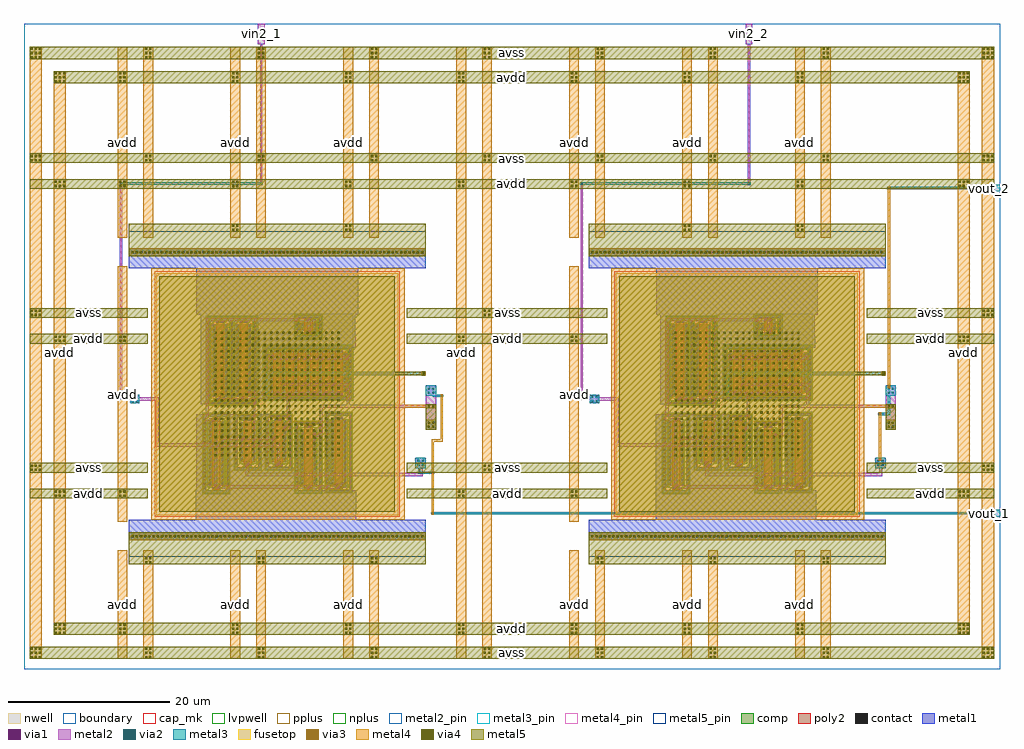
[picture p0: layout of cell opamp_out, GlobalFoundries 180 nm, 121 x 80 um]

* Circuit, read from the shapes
.subckt opamp_out avdd avss vin2_1 vin2_2 vout_1 vout_2
XM1 opamp_1/p opamp_1/vb avss avss nfet_03v3 w=8u l=1u
XM2 opamp_1/y vout_1 opamp_1/p avss nfet_03v3 w=5u l=1u
XM3 opamp_1/x vin2_1 opamp_1/p avss nfet_03v3 w=5u l=1u
XM4 vout_1 opamp_1/vb avss avss nfet_03v3 w=7u l=1u
XM5 opamp_1/vb opamp_1/vb avss avss nfet_03v3 w=8u l=1u
XM6 opamp_0/p opamp_0/vb avss avss nfet_03v3 w=8u l=1u
XM7 opamp_0/y vout_2 opamp_0/p avss nfet_03v3 w=5u l=1u
XM8 opamp_0/x vin2_2 opamp_0/p avss nfet_03v3 w=5u l=1u
XM9 vout_2 opamp_0/vb avss avss nfet_03v3 w=7u l=1u
XM10 opamp_0/vb opamp_0/vb avss avss nfet_03v3 w=8u l=1u
XM11 opamp_1/y opamp_1/y avdd avdd pfet_03v3 w=9u l=1u
XM12 opamp_1/x opamp_1/y avdd avdd pfet_03v3 w=9u l=1u
XM13 vout_1 opamp_1/x avdd avdd pfet_03v3 w=4.8u l=1u m=6
XM14 opamp_1/vb opamp_1/vb avdd avdd pfet_03v3 w=1u l=1u
XM15 opamp_0/y opamp_0/y avdd avdd pfet_03v3 w=9u l=1u
XM16 opamp_0/x opamp_0/y avdd avdd pfet_03v3 w=9u l=1u
XM17 vout_2 opamp_0/x avdd avdd pfet_03v3 w=4.8u l=1u m=6
XM18 opamp_0/vb opamp_0/vb avdd avdd pfet_03v3 w=1u l=1u
XC19 opamp_1/x vout_1 cap_mim_2f0fF c_width=30u c_length=30u
XC20 opamp_0/x vout_2 cap_mim_2f0fF c_width=30u c_length=30u
.ends

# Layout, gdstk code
from math import pi, radians
import gdstk
lib = gdstk.Library(unit=1e-6, precision=1e-09)
def R(c, l, rs):  # rectangles x0, y0, x1, y1
    for r in rs: c.add(gdstk.rectangle(r[:2], r[2:], *l))
def A(c, l, x, y, w, h, nx, ny, dx, dy):  # array of equal rectangles
    R(c, l, [(x+i*dx, y+j*dy, x+i*dx+w, y+j*dy+h) for i in range(nx) for j in range(ny)])
def P(c, l, *ps):  # polygons
    for p in ps: c.add(gdstk.Polygon(p, *l))
boundary = (0, 0)
nwell = (21, 0)
comp = (22, 0)
poly2 = (30, 0)
pplus = (31, 0)
nplus = (32, 0)
contact = (33, 0)
metal1 = (34, 0)
via1 = (35, 0)
metal2 = (36, 0)
metal2_pin = (36, 10)
via2 = (38, 0)
via3 = (40, 0)
via4 = (41, 0)
metal3 = (42, 0)
metal3_pin = (42, 10)
metal4 = (46, 0)
metal4_pin = (46, 10)
fusetop = (75, 0)
metal5 = (81, 0)
metal5_pin = (81, 10)
cap_mk = (117, 5)
lvpwell = (204, 0)

ps_via_dev = lib.new_cell('PS_via_dev')
R(ps_via_dev, metal2, [(0,0,1.08,1.13)])
R(ps_via_dev, via2, [(0.15,0.175,0.41,0.435), (0.67,0.175,0.93,0.435), (0.15,0.695,0.41,0.955), (0.67,0.695,0.93,0.955)])
R(ps_via_dev, metal3, [(0,0,1.08,1.13)])

ps_nfet_03v3_jwtltl = lib.new_cell('PS_nfet_03v3_JWTLTL')
R(ps_nfet_03v3_jwtltl, boundary, [(-1.45,-4.75,1.45,4.75)])
R(ps_nfet_03v3_jwtltl, comp, [(-1.63,-4.93,1.63,-4.57), (-1.63,-4.57,-1.27,4.57), (1.27,-4.57,1.63,4.57), (-0.94,-4,0.94,4), (-1.63,4.57,1.63,4.93)])
R(ps_nfet_03v3_jwtltl, poly2, [(-0.5,-4.46,0.5,4.46)])
R(ps_nfet_03v3_jwtltl, pplus, [(-1.65,-4.95,1.65,-4.55), (-1.65,-4.55,-1.24,-4.44), (1.24,-4.55,1.65,-4.44), (-1.66,-4.44,-1.24,4.44), (1.24,-4.44,1.66,4.44), (-1.65,4.44,-1.24,4.55), (1.24,4.44,1.65,4.55), (-1.65,4.55,1.65,4.95)])
R(ps_nfet_03v3_jwtltl, nplus, [(-0.73,-4.23,0.73,-4.16), (-1.1,-4.16,1.1,4.16), (-0.73,4.16,0.73,4.23)])
A(ps_nfet_03v3_jwtltl, contact, -1.56, -4.34, 0.22, 0.22, 1, 19, 0, 0.47)
A(ps_nfet_03v3_jwtltl, contact, 1.34, -4.34, 0.22, 0.22, 1, 19, 0, 0.47)
A(ps_nfet_03v3_jwtltl, contact, -0.87, -3.87, 0.22, 0.22, 1, 17, 0, 0.47)
A(ps_nfet_03v3_jwtltl, contact, 0.65, -3.87, 0.22, 0.22, 1, 17, 0, 0.47)
R(ps_nfet_03v3_jwtltl, contact, [(-0.345,-4.39,-0.125,-4.17), (0.125,-4.39,0.345,-4.17), (-0.345,4.17,-0.125,4.39), (0.125,4.17,0.345,4.39)])
R(ps_nfet_03v3_jwtltl, metal1, [(-1.565,-4.865,1.565,-4.635), (-1.565,-4.635,-1.335,4.635), (1.335,-4.635,1.565,4.635), (-0.49,-4.395,0.49,-4.165), (-0.875,-3.99,-0.645,3.99), (0.645,-3.99,0.875,3.99), (-0.49,4.165,0.49,4.395), (-1.565,4.635,1.565,4.865)])
R(ps_nfet_03v3_jwtltl, lvpwell, [(-1.75,-5.05,1.75,5.05)])

ps_pfet_03v3_5mdbd5 = lib.new_cell('PS_pfet_03v3_5MDBD5')
R(ps_pfet_03v3_5mdbd5, boundary, [(-1.45,-5.25,1.45,5.25)])
R(ps_pfet_03v3_5mdbd5, nwell, [(-1.75,-5.55,1.75,5.55)])
R(ps_pfet_03v3_5mdbd5, comp, [(-1.63,-5.43,1.63,-5.07), (-1.63,-5.07,-1.27,5.07), (1.27,-5.07,1.63,5.07), (-0.94,-4.5,0.94,4.5), (-1.63,5.07,1.63,5.43)])
R(ps_pfet_03v3_5mdbd5, poly2, [(-0.5,-4.96,0.5,4.96)])
R(ps_pfet_03v3_5mdbd5, pplus, [(-0.73,-4.73,0.73,-4.66), (-1.1,-4.66,1.1,4.66), (-0.73,4.66,0.73,4.73)])
R(ps_pfet_03v3_5mdbd5, nplus, [(-1.79,-5.59,1.79,-4.96), (-1.79,-4.96,-1.16,4.96), (1.16,-4.96,1.79,4.96), (-1.79,4.96,1.79,5.59)])
A(ps_pfet_03v3_5mdbd5, contact, -1.56, -4.81, 0.22, 0.22, 1, 21, 0, 0.47)
A(ps_pfet_03v3_5mdbd5, contact, 1.34, -4.81, 0.22, 0.22, 1, 21, 0, 0.47)
A(ps_pfet_03v3_5mdbd5, contact, -0.87, -4.34, 0.22, 0.22, 1, 19, 0, 0.47)
A(ps_pfet_03v3_5mdbd5, contact, 0.65, -4.34, 0.22, 0.22, 1, 19, 0, 0.47)
R(ps_pfet_03v3_5mdbd5, contact, [(-0.345,-4.89,-0.125,-4.67), (0.125,-4.89,0.345,-4.67), (-0.345,4.67,-0.125,4.89), (0.125,4.67,0.345,4.89)])
R(ps_pfet_03v3_5mdbd5, metal1, [(-1.565,-5.365,1.565,-5.135), (-1.565,-5.135,-1.335,5.135), (1.335,-5.135,1.565,5.135), (-0.49,-4.895,0.49,-4.665), (-0.875,-4.49,-0.645,4.49), (0.645,-4.49,0.875,4.49), (-0.49,4.665,0.49,4.895), (-1.565,5.135,1.565,5.365)])

ps_nfet_03v3_ctt5vy = lib.new_cell('PS_nfet_03v3_CTT5VY')
R(ps_nfet_03v3_ctt5vy, boundary, [(-1.45,-3.25,1.45,3.25)])
R(ps_nfet_03v3_ctt5vy, comp, [(-1.63,-3.43,1.63,-3.07), (-1.63,-3.07,-1.27,3.07), (1.27,-3.07,1.63,3.07), (-0.94,-2.5,0.94,2.5), (-1.63,3.07,1.63,3.43)])
R(ps_nfet_03v3_ctt5vy, poly2, [(-0.5,-2.96,0.5,2.96)])
R(ps_nfet_03v3_ctt5vy, pplus, [(-1.65,-3.45,1.65,-3.05), (-1.65,-3.05,-1.24,-2.795), (1.24,-3.05,1.65,-2.795), (-1.66,-2.795,-1.24,2.795), (1.24,-2.795,1.66,2.795), (-1.65,2.795,-1.24,3.05), (1.24,2.795,1.65,3.05), (-1.65,3.05,1.65,3.45)])
R(ps_nfet_03v3_ctt5vy, nplus, [(-0.73,-2.73,0.73,-2.66), (-1.1,-2.66,1.1,2.66), (-0.73,2.66,0.73,2.73)])
A(ps_nfet_03v3_ctt5vy, contact, -1.56, -2.695, 0.22, 0.22, 1, 12, 0, 0.47)
A(ps_nfet_03v3_ctt5vy, contact, 1.34, -2.695, 0.22, 0.22, 1, 12, 0, 0.47)
A(ps_nfet_03v3_ctt5vy, contact, -0.87, -2.225, 0.22, 0.22, 1, 10, 0, 0.47)
A(ps_nfet_03v3_ctt5vy, contact, 0.65, -2.225, 0.22, 0.22, 1, 10, 0, 0.47)
R(ps_nfet_03v3_ctt5vy, contact, [(-0.345,-2.89,-0.125,-2.67), (0.125,-2.89,0.345,-2.67), (-0.345,2.67,-0.125,2.89), (0.125,2.67,0.345,2.89)])
R(ps_nfet_03v3_ctt5vy, metal1, [(-1.565,-3.365,1.565,-3.135), (-1.565,-3.135,-1.335,3.135), (1.335,-3.135,1.565,3.135), (-0.49,-2.895,0.49,-2.665), (-0.875,-2.49,-0.645,2.49), (0.645,-2.49,0.875,2.49), (-0.49,2.665,0.49,2.895), (-1.565,3.135,1.565,3.365)])
R(ps_nfet_03v3_ctt5vy, lvpwell, [(-1.75,-3.55,1.75,3.55)])

ps_pfet_03v3_u949mw = lib.new_cell('PS_pfet_03v3_U949MW')
R(ps_pfet_03v3_u949mw, boundary, [(-5.25,-3.15,5.25,3.15)])
R(ps_pfet_03v3_u949mw, nwell, [(-5.55,-3.45,5.55,3.45)])
R(ps_pfet_03v3_u949mw, comp, [(-5.43,-3.33,5.43,-2.97), (-5.43,-2.97,-5.07,2.97), (5.07,-2.97,5.43,2.97), (-4.74,-2.4,4.74,2.4), (-5.43,2.97,5.43,3.33)])
A(ps_pfet_03v3_u949mw, poly2, -4.3, -2.86, 1, 5.72, 6, 1, 1.52, 0)
R(ps_pfet_03v3_u949mw, pplus, [(-4.53,-2.63,4.53,-2.56), (-4.9,-2.56,4.9,2.56), (-4.53,2.56,4.53,2.63)])
R(ps_pfet_03v3_u949mw, nplus, [(-5.59,-3.49,5.59,-2.86), (-5.59,-2.86,-4.96,2.86), (4.96,-2.86,5.59,2.86), (-5.59,2.86,5.59,3.49)])
A(ps_pfet_03v3_u949mw, contact, -5.36, -2.695, 0.22, 0.22, 1, 12, 0, 0.47)
A(ps_pfet_03v3_u949mw, contact, 5.14, -2.695, 0.22, 0.22, 1, 12, 0, 0.47)
A(ps_pfet_03v3_u949mw, contact, -4.67, -2.225, 0.22, 0.22, 7, 10, 1.52, 0.47)
R(ps_pfet_03v3_u949mw, contact, [(-4.145,-2.79,-3.925,-2.57), (-3.675,-2.79,-3.455,-2.57), (-2.625,-2.79,-2.405,-2.57), (-2.155,-2.79,-1.935,-2.57), (-1.105,-2.79,-0.885,-2.57), (-0.635,-2.79,-0.415,-2.57), (0.415,-2.79,0.635,-2.57), (0.885,-2.79,1.105,-2.57), (1.935,-2.79,2.155,-2.57), (2.405,-2.79,2.625,-2.57), (3.455,-2.79,3.675,-2.57), (3.925,-2.79,4.145,-2.57), (-4.145,2.57,-3.925,2.79), (-3.675,2.57,-3.455,2.79), (-2.625,2.57,-2.405,2.79), (-2.155,2.57,-1.935,2.79), (-1.105,2.57,-0.885,2.79), (-0.635,2.57,-0.415,2.79), (0.415,2.57,0.635,2.79), (0.885,2.57,1.105,2.79), (1.935,2.57,2.155,2.79), (2.405,2.57,2.625,2.79), (3.455,2.57,3.675,2.79), (3.925,2.57,4.145,2.79)])
A(ps_pfet_03v3_u949mw, metal1, -4.29, -2.795, 0.98, 0.23, 6, 2, 1.52, 5.36)
A(ps_pfet_03v3_u949mw, metal1, -4.675, -2.39, 0.23, 4.78, 7, 1, 1.52, 0)
R(ps_pfet_03v3_u949mw, metal1, [(-5.365,-3.265,5.365,-3.035), (-5.365,-3.035,-5.135,3.035), (5.135,-3.035,5.365,3.035), (-5.365,3.035,5.365,3.265)])

ps_via_dev_15 = lib.new_cell('PS_via_dev$15')
R(ps_via_dev_15, metal2, [(0,0,1.29,1.29)])
R(ps_via_dev_15, via2, [(0.255,0.255,0.515,0.515), (0.775,0.255,1.035,0.515), (0.255,0.775,0.515,1.035), (0.775,0.775,1.035,1.035)])
R(ps_via_dev_15, via3, [(0.255,0.255,0.515,0.515), (0.775,0.255,1.035,0.515), (0.255,0.775,0.515,1.035), (0.775,0.775,1.035,1.035)])
R(ps_via_dev_15, via4, [(0.255,0.255,0.515,0.515), (0.775,0.255,1.035,0.515), (0.255,0.775,0.515,1.035), (0.775,0.775,1.035,1.035)])
R(ps_via_dev_15, metal3, [(0,0,1.29,1.29)])
R(ps_via_dev_15, metal4, [(0,0,1.29,1.29)])
R(ps_via_dev_15, metal5, [(0,0,1.29,1.29)])

ps_via_dev_13 = lib.new_cell('PS_via_dev$13')
R(ps_via_dev_13, metal2, [(0,0,1.29,1.29)])
R(ps_via_dev_13, via2, [(0.255,0.255,0.515,0.515), (0.775,0.255,1.035,0.515), (0.255,0.775,0.515,1.035), (0.775,0.775,1.035,1.035)])
R(ps_via_dev_13, metal3, [(0,0,1.29,1.29)])

ps_nfet_03v3_hvw9xu = lib.new_cell('PS_nfet_03v3_HVW9XU')
R(ps_nfet_03v3_hvw9xu, boundary, [(-1.45,-4.25,1.45,4.25)])
R(ps_nfet_03v3_hvw9xu, comp, [(-1.63,-4.43,1.63,-4.07), (-1.63,-4.07,-1.27,4.07), (1.27,-4.07,1.63,4.07), (-0.94,-3.5,0.94,3.5), (-1.63,4.07,1.63,4.43)])
R(ps_nfet_03v3_hvw9xu, poly2, [(-0.5,-3.96,0.5,3.96)])
R(ps_nfet_03v3_hvw9xu, pplus, [(-1.65,-4.45,1.65,-4.05), (-1.65,-4.05,-1.24,-3.735), (1.24,-4.05,1.65,-3.735), (-1.66,-3.735,-1.24,3.735), (1.24,-3.735,1.66,3.735), (-1.65,3.735,-1.24,4.05), (1.24,3.735,1.65,4.05), (-1.65,4.05,1.65,4.45)])
R(ps_nfet_03v3_hvw9xu, nplus, [(-0.73,-3.73,0.73,-3.66), (-1.1,-3.66,1.1,3.66), (-0.73,3.66,0.73,3.73)])
A(ps_nfet_03v3_hvw9xu, contact, -1.56, -3.635, 0.22, 0.22, 1, 16, 0, 0.47)
A(ps_nfet_03v3_hvw9xu, contact, 1.34, -3.635, 0.22, 0.22, 1, 16, 0, 0.47)
A(ps_nfet_03v3_hvw9xu, contact, -0.87, -3.4, 0.22, 0.22, 1, 15, 0, 0.47)
A(ps_nfet_03v3_hvw9xu, contact, 0.65, -3.4, 0.22, 0.22, 1, 15, 0, 0.47)
R(ps_nfet_03v3_hvw9xu, contact, [(-0.345,-3.89,-0.125,-3.67), (0.125,-3.89,0.345,-3.67), (-0.345,3.67,-0.125,3.89), (0.125,3.67,0.345,3.89)])
R(ps_nfet_03v3_hvw9xu, metal1, [(-1.565,-4.365,1.565,-4.135), (-1.565,-4.135,-1.335,4.135), (1.335,-4.135,1.565,4.135), (-0.49,-3.895,0.49,-3.665), (-0.875,-3.49,-0.645,3.49), (0.645,-3.49,0.875,3.49), (-0.49,3.665,0.49,3.895), (-1.565,4.135,1.565,4.365)])
R(ps_nfet_03v3_hvw9xu, lvpwell, [(-1.75,-4.55,1.75,4.55)])

ps_via_dev_12_1 = lib.new_cell('PS_via_dev$12$1')
R(ps_via_dev_12_1, metal2, [(0,0,1.285,1.29)])
R(ps_via_dev_12_1, via2, [(0.25,0.255,0.51,0.515), (0.77,0.255,1.03,0.515), (0.25,0.775,0.51,1.035), (0.77,0.775,1.03,1.035)])
R(ps_via_dev_12_1, metal3, [(0,0,1.285,1.29)])

ps_via_dev_1 = lib.new_cell('PS_via_dev$1')
R(ps_via_dev_1, via4, [(0.12,0.255,0.38,0.515), (0.12,0.775,0.38,1.035)])
R(ps_via_dev_1, metal4, [(0,0,0.5,1.29)])
R(ps_via_dev_1, metal5, [(0,0,0.5,1.29)])

ps_via_dev_7 = lib.new_cell('PS_via_dev$7')
R(ps_via_dev_7, metal1, [(0,0,1,36.815)])
A(ps_via_dev_7, via1, 0.37, 0.255, 0.26, 0.26, 1, 69, 0, 0.53)
R(ps_via_dev_7, metal2, [(0,0,1,36.815)])
A(ps_via_dev_7, via2, 0.37, 0.335, 0.26, 0.26, 1, 70, 0, 0.52)
A(ps_via_dev_7, via3, 0.37, 0.335, 0.26, 0.26, 1, 70, 0, 0.52)
A(ps_via_dev_7, via4, 0.37, 0.335, 0.26, 0.26, 1, 70, 0, 0.52)
R(ps_via_dev_7, metal3, [(0,0,1,36.815)])
R(ps_via_dev_7, metal4, [(0,0,1,36.815)])
R(ps_via_dev_7, metal5, [(0,0,1,36.815)])

ps_pfet_03v3_9trv9f = lib.new_cell('PS_pfet_03v3_9TRV9F')
R(ps_pfet_03v3_9trv9f, boundary, [(-1.45,-1.25,1.45,1.25)])
R(ps_pfet_03v3_9trv9f, nwell, [(-1.75,-1.55,1.75,1.55)])
R(ps_pfet_03v3_9trv9f, comp, [(-1.63,-1.43,1.63,-1.07), (-1.63,-1.07,-1.27,1.07), (1.27,-1.07,1.63,1.07), (-0.94,-0.5,0.94,0.5), (-1.63,1.07,1.63,1.43)])
R(ps_pfet_03v3_9trv9f, poly2, [(-0.5,-0.96,0.5,0.96)])
R(ps_pfet_03v3_9trv9f, pplus, [(-0.73,-0.73,0.73,-0.66), (-1.1,-0.66,1.1,0.66), (-0.73,0.66,0.73,0.73)])
R(ps_pfet_03v3_9trv9f, nplus, [(-1.79,-1.59,1.79,-0.96), (-1.79,-0.96,-1.16,0.96), (1.16,-0.96,1.79,0.96), (-1.79,0.96,1.79,1.59)])
A(ps_pfet_03v3_9trv9f, contact, -1.56, -0.815, 0.22, 0.22, 1, 4, 0, 0.47)
A(ps_pfet_03v3_9trv9f, contact, 1.34, -0.815, 0.22, 0.22, 1, 4, 0, 0.47)
R(ps_pfet_03v3_9trv9f, contact, [(-0.345,-0.89,-0.125,-0.67), (0.125,-0.89,0.345,-0.67), (-0.87,-0.345,-0.65,-0.125), (0.65,-0.345,0.87,-0.125), (-0.87,0.125,-0.65,0.345), (0.65,0.125,0.87,0.345), (-0.345,0.67,-0.125,0.89), (0.125,0.67,0.345,0.89)])
R(ps_pfet_03v3_9trv9f, metal1, [(-1.565,-1.365,1.565,-1.135), (-1.565,-1.135,-1.335,1.135), (1.335,-1.135,1.565,1.135), (-0.49,-0.895,0.49,-0.665), (-0.875,-0.49,-0.645,0.49), (0.645,-0.49,0.875,0.49), (-0.49,0.665,0.49,0.895), (-1.565,1.135,1.565,1.365)])

ps_cap_mim_2p0ff_lvjl5f = lib.new_cell('PS_cap_mim_2p0fF_LVJL5F')
R(ps_cap_mim_2p0ff_lvjl5f, boundary, [(-16.2,-15.6,15,15.6)])
A(ps_cap_mim_2p0ff_lvjl5f, via4, -8.33, -7.73, 0.26, 0.26, 21, 21, 0.76, 0.76)
R(ps_cap_mim_2p0ff_lvjl5f, metal4, [(-16.2,-15.6,15.2,15.6)])
R(ps_cap_mim_2p0ff_lvjl5f, fusetop, [(-15.6,-15,14.4,15)])
R(ps_cap_mim_2p0ff_lvjl5f, metal5, [(-15.2,-14.6,14,14.6)])
R(ps_cap_mim_2p0ff_lvjl5f, cap_mk, [(-15.8,-15.2,14.6,15.2)])

opamp = lib.new_cell('opamp')
R(opamp, boundary, [(0,0,38.105,42.2)])
R(opamp, nwell, [(15.65,19.7,16.935,27.02), (15.65,27.02,27.81,28.19), (15.65,28.19,20.665,30.91), (23.85,28.19,27.79,31.04), (16.28,30.91,20.665,31.04)])
R(opamp, pplus, [(20.235,11.69,20.615,12.345), (20.245,12.345,20.615,17), (20.245,17,20.625,17.715)])
R(opamp, metal1, [(0,3.5,36.815,5.5), (8.295,5.5,28.205,8.985), (8.295,8.985,9.57,9.195), (12.18,8.985,28.205,9.105), (12.18,9.105,20.935,9.195), (23.615,9.105,28.205,9.195), (8.34,9.195,9.415,9.8), (12.28,9.195,20.82,10.005), (22.095,9.36,22.485,9.855), (10.635,9.405,11.145,9.46), (10.595,9.46,11.145,9.795), (26.14,9.5,26.94,9.625), (25.74,9.625,26.94,10.015), (10.595,9.795,10.98,17.735), (8.34,9.8,10.145,17.57), (24.455,9.955,25.31,17.62), (12.28,10.005,21.57,11.785), (26.14,10.015,26.94,10.1), (12.26,11.785,21.57,11.94), (12.26,11.94,13.365,12.72), (16.09,11.94,17.35,17.815), (20.72,11.94,21.57,16.56), (18.315,12.235,18.825,12.665), (14.405,12.335,14.935,12.79), (12.28,12.72,13.365,17.5), (13.89,15.38,14.325,15.86), (11.33,15.395,11.77,15.845), (17.715,15.395,18.15,15.435), (17.71,15.435,18.15,15.805), (22.82,15.73,23.23,16.22), (17.715,15.805,18.15,15.845), (15.335,16.5,15.74,16.825), (19.145,16.54,19.58,17.055), (12.26,17.5,13.365,18.59), (8.34,17.57,9.415,18.575), (10.545,17.735,11.06,18.1), (16.245,17.815,17.35,18.575), (10.595,18.1,10.98,18.11), (8.9,19.87,9.88,20.825), (11.175,20.42,11.54,20.455), (11.175,20.455,12.21,20.735), (13.93,20.455,14.335,20.77), (15.68,20.5,16.955,21.4), (11.175,20.735,11.54,20.76), (11.93,20.735,12.21,21.03), (12.695,20.77,12.88,20.835), (8.9,20.825,10.665,29.68), (12.695,20.835,13.62,29.7), (14.82,20.91,15.235,21.435), (18.15,20.945,18.535,20.96), (21.23,20.945,21.615,20.975), (22.715,20.945,23.125,21.425), (24.285,20.945,24.695,21.425), (25.815,20.945,26.265,21.425), (18.135,20.96,18.55,21.485), (21.19,20.975,21.655,21.37), (19.505,20.98,20.04,21.405), (21.23,21.37,21.615,21.41), (15.68,21.4,17.69,25.335), (26.64,21.45,27.59,26.1), (18.95,22.06,19.34,22.55), (21.96,22.065,22.385,22.55), (24.995,22.08,25.485,22.525), (20.45,25.29,21.045,25.855), (23.465,25.315,24.06,25.88), (15.68,25.335,17.985,25.9), (15.68,25.9,17.69,26.05), (15.68,26.05,16.955,26.86), (15.68,26.86,20.78,26.875), (15.68,26.875,28.105,28.19), (15.68,28.19,20.78,29.05), (23.73,28.19,28.05,30.635), (22.51,28.565,23.145,28.675), (22.085,28.675,23.145,28.795), (22.085,28.795,22.57,29.04), (22.91,28.795,23.145,29.1), (15.68,29.05,21.64,29.9), (22.915,29.1,23.145,30.115), (8.9,29.68,9.88,30.545), (12.695,29.7,12.89,29.755), (15.68,29.9,20.78,30.545), (22.76,30.115,23.145,30.12), (21.965,30.12,23.145,30.35), (8.9,30.545,20.78,30.635), (8.9,30.635,28.05,30.91), (8.375,30.91,28.435,36.7), (0,36.7,36.815,38.7)])
R(opamp, via1, [(10.76,9.47,11.02,9.73), (22.16,9.47,22.42,9.73), (25.865,9.69,26.125,9.95), (18.435,12.335,18.695,12.595), (14.54,12.415,14.8,12.675), (11.42,15.49,11.68,15.75), (13.98,15.49,14.24,15.75), (17.8,15.49,18.06,15.75), (22.905,15.845,23.165,16.105), (15.405,16.55,15.665,16.81), (19.24,16.665,19.5,16.925), (10.67,17.785,10.93,18.045), (11.245,20.465,11.505,20.725), (14,20.475,14.26,20.735), (14.895,21.04,15.155,21.3), (21.29,21.04,21.55,21.3), (22.785,21.04,23.045,21.3), (24.355,21.04,24.615,21.3), (25.885,21.04,26.145,21.3), (18.21,21.045,18.47,21.305), (19.635,21.045,19.895,21.305), (19.005,22.175,19.265,22.435), (22.055,22.175,22.315,22.435), (25.11,22.175,25.37,22.435), (17.57,25.46,17.83,25.72), (20.625,25.47,20.885,25.73), (23.63,25.47,23.89,25.73), (26.945,25.47,27.205,25.73), (22.195,28.725,22.455,28.985)])
R(opamp, metal2, [(10.685,9.345,11.095,9.395), (10.685,9.395,26.2,9.805), (10.685,9.805,11.095,9.89), (25.79,9.805,26.2,10.105), (14.46,10.945,36.41,11.35), (14.465,11.35,14.875,12.335), (36,11.35,36.41,11.935), (35.525,11.935,36.815,13.22), (18.315,12.23,18.825,12.665), (14.405,12.335,14.935,12.79), (18.375,12.665,18.76,14.595), (3.34,14.595,18.76,14.98), (3.34,14.98,3.725,20.305), (18.375,14.98,18.76,14.99), (13.89,15.38,14.325,15.44), (11.33,15.395,11.77,15.44), (17.715,15.395,18.15,15.44), (11.33,15.44,18.25,15.8), (22.82,15.73,23.23,15.8), (11.33,15.8,11.77,15.845), (13.89,15.8,14.325,15.86), (17.715,15.8,18.15,15.845), (22.82,15.8,24.04,16.15), (22.82,16.15,23.23,16.22), (23.69,16.15,24.04,19.425), (15.335,16.5,15.74,16.825), (19.145,16.54,19.58,16.605), (19.14,16.605,19.96,16.99), (15.395,16.825,15.675,20.325), (19.145,16.99,19.96,17.055), (19.575,17.055,19.96,20.98), (10.625,17.67,11.01,17.675), (10.595,17.675,11.01,17.725), (9.52,17.725,11.01,18.11), (36.815,17.94,38.105,19.425), (9.52,18.11,9.905,30.11), (10.595,18.11,11.01,18.16), (10.625,18.16,11.01,18.22), (23.69,19.425,38.105,19.775), (25.065,19.775,25.415,19.795), (27.01,19.775,27.36,22.11), (36.815,19.775,38.105,20.875), (0.16,19.955,1.29,20.305), (0.16,20.305,3.725,20.685), (13.975,20.325,15.675,20.335), (11.235,20.335,15.675,20.42), (11.175,20.42,15.675,20.605), (11.175,20.605,14.335,20.615), (14.89,20.605,15.675,20.615), (11.175,20.615,11.54,20.76), (13.93,20.615,14.335,20.77), (0.16,20.685,1.29,21.035), (11.235,20.76,11.515,20.79), (14.82,20.91,15.235,20.98), (16.945,20.93,17.36,20.98), (21.235,20.935,21.61,20.945), (21.195,20.945,21.655,20.98), (22.715,20.945,23.125,20.98), (24.285,20.945,24.695,20.98), (25.815,20.945,26.265,20.98), (18.135,20.96,18.55,20.98), (14.795,20.98,26.265,21.365), (14.82,21.365,15.235,21.435), (16.945,21.365,17.36,21.415), (18.11,21.365,20.04,21.37), (21.195,21.365,21.655,21.41), (22.715,21.365,23.125,21.425), (24.285,21.365,24.695,21.425), (25.815,21.365,26.265,21.425), (18.135,21.37,18.55,21.485), (19.505,21.37,20.04,21.405), (25.065,22.035,25.415,22.08), (18.95,22.06,19.34,22.13), (21.96,22.065,22.385,22.13), (24.995,22.08,25.485,22.11), (24.88,22.11,27.36,22.13), (18.92,22.13,27.36,22.46), (18.92,22.46,25.485,22.48), (18.95,22.48,19.34,22.55), (21.96,22.48,22.385,22.55), (24.995,22.48,25.485,22.525), (17.39,25.335,27.32,25.865), (22.135,28.615,22.52,30.11), (9.52,30.11,22.52,30.495)])
R(opamp, via2, [(17.02,21.04,17.28,21.3)])
R(opamp, via3, [(36.405,23.515,36.665,23.775)])
R(opamp, via4, [(36.41,23.52,36.67,23.78)])
R(opamp, metal3, [(35.52,11.935,36.815,13.215), (0.16,19.955,1.29,21.035), (36.815,20.875,38.105,22.165), (16.895,20.98,17.41,21.365), (16.96,21.365,17.345,23.455), (16.96,23.455,36.78,23.84)])
R(opamp, metal3_pin, [(35.52,11.935,36.81,13.215), (0.16,19.955,1.29,21.035), (36.815,20.875,38.105,22.16)])
R(opamp, metal4, [(32.465,19.425,36.815,19.775), (36.345,23.405,36.73,23.43), (36.27,23.43,36.81,23.87), (36.345,23.87,36.73,23.89)])
R(opamp, metal5, [(0,0,36.815,3), (36.815,17.94,38.105,19.825), (36.32,23.38,36.76,23.43), (32.32,23.43,36.76,23.87), (36.32,23.87,36.76,23.92), (0,39.2,36.815,42.2)])
R(opamp, metal5_pin, [(0,0,36.815,1), (0,41.2,36.815,42.2)])
opamp.add(gdstk.Reference(ps_via_dev, (1.29,19.955), rotation=pi/2))
opamp.add(gdstk.Reference(ps_nfet_03v3_jwtltl, (10.84,13.73), rotation=pi, x_reflection=True))
opamp.add(gdstk.Reference(ps_pfet_03v3_5mdbd5, (11.33,25.25), rotation=pi, x_reflection=True))
opamp.add(gdstk.Reference(ps_pfet_03v3_5mdbd5, (14.23,25.25), rotation=pi, x_reflection=True))
opamp.add(gdstk.Reference(ps_nfet_03v3_ctt5vy, (14.755,15.12), rotation=pi, x_reflection=True))
opamp.add(gdstk.Reference(ps_nfet_03v3_ctt5vy, (18.585,15.14), rotation=pi, x_reflection=True))
opamp.add(gdstk.Reference(ps_pfet_03v3_u949mw, (22.2,23.75)))
opamp.add(gdstk.Reference(ps_via_dev_15, (38.105,16.65), rotation=pi/2))
opamp.add(gdstk.Reference(ps_via_dev_13, (38.105,20.875), rotation=pi/2))
opamp.add(gdstk.Reference(ps_nfet_03v3_jwtltl, (26.035,13.84), rotation=pi, x_reflection=True))
opamp.add(gdstk.Reference(ps_nfet_03v3_hvw9xu, (22.275,13.265), rotation=pi, x_reflection=True))
opamp.add(gdstk.Reference(ps_via_dev_12_1, (36.815,11.935), rotation=pi/2))
opamp.add(gdstk.Reference(ps_via_dev_1, (38.105,19.35), rotation=pi/2))
opamp.add(gdstk.Reference(ps_via_dev_7, (36.815,3), rotation=pi/2))
opamp.add(gdstk.Reference(ps_via_dev_7, (36.815,38.2), rotation=pi/2))
opamp.add(gdstk.Reference(ps_pfet_03v3_9trv9f, (22.275,29.45), rotation=pi, x_reflection=True))
opamp.add(gdstk.Reference(ps_cap_mim_2p0ff_lvjl5f, (18.99,21.1)))
opamp.add(gdstk.Label('x', (19.73,19.415), layer=36, texttype=0))
opamp.add(gdstk.Label('y', (15.515,19.21), layer=36, texttype=0))
opamp.add(gdstk.Label('p', (15.88,15.58), layer=36, texttype=0))
opamp.add(gdstk.Label('vb', (9.68,19.2), layer=36, texttype=0))
opamp.add(gdstk.Label('avdd', (18.407,41.7), layer=81, texttype=10))
opamp.add(gdstk.Label('avss', (18.407,0.5), layer=81, texttype=10))
opamp.add(gdstk.Label('vout', (37.46,21.517), layer=42, texttype=10))
opamp.add(gdstk.Label('vin1', (36.165,12.575), layer=42, texttype=10))
opamp.add(gdstk.Label('vin2', (0.725,20.495), layer=42, texttype=10))

opamp_out = lib.new_cell('opamp_out')
R(opamp_out, boundary, [(0,0,121,80)])
R(opamp_out, metal2, [(11.9,33.41,12.18,60.39), (69.02,33.41,69.3,60.39)])
P(opamp_out, metal2, [(29.82,80),(28.98,80),(28.98,77.5),(29.26,77.5),(29.26,60.01),(29.54,60.01),(29.54,77.5),(29.82,77.5)],
  [(90.3,80),(89.46,80),(89.46,77.5),(89.74,77.5),(89.74,60.01),(90.02,60.01),(90.02,77.5),(90.3,77.5)])
R(opamp_out, metal2_pin, [(28.98,77.5,29.82,80), (89.46,77.5,90.3,80)])
R(opamp_out, via2, [(11.91,33.47,12.17,33.73), (69.03,33.47,69.29,33.73), (11.91,60.07,12.17,60.33), (29.27,60.07,29.53,60.33), (69.03,60.07,69.29,60.33), (89.75,60.07,90.01,60.33)])
R(opamp_out, via3, [(50.55,19.19,50.81,19.45), (50.55,24.23,50.81,24.49), (105.99,25.91,106.25,26.17), (105.99,31.51,106.25,31.77), (51.67,33.75,51.93,34.01), (107.11,34.87,107.37,35.13), (107.11,59.51,107.37,59.77)])
A(opamp_out, via4, 0.8, 1.36, 0.26, 0.26, 3, 3, 0.52, 0.52)
A(opamp_out, via4, 15.01, 1.36, 0.26, 0.26, 1, 3, 0, 0.52)
A(opamp_out, via4, 15.53, 1.36, 0.26, 0.26, 1, 3, 0, 0.52)
A(opamp_out, via4, 29.01, 1.36, 0.26, 0.26, 1, 3, 0, 0.52)
A(opamp_out, via4, 29.53, 1.36, 0.26, 0.26, 1, 3, 0, 0.52)
A(opamp_out, via4, 43.01, 1.36, 0.26, 0.26, 1, 3, 0, 0.52)
A(opamp_out, via4, 43.53, 1.36, 0.26, 0.26, 1, 3, 0, 0.52)
A(opamp_out, via4, 57.01, 1.36, 0.26, 0.26, 1, 3, 0, 0.52)
A(opamp_out, via4, 57.53, 1.36, 0.26, 0.26, 1, 3, 0, 0.52)
A(opamp_out, via4, 71.01, 1.36, 0.26, 0.26, 1, 3, 0, 0.52)
A(opamp_out, via4, 71.53, 1.36, 0.26, 0.26, 1, 3, 0, 0.52)
A(opamp_out, via4, 85.01, 1.36, 0.26, 0.26, 1, 3, 0, 0.52)
A(opamp_out, via4, 85.53, 1.36, 0.26, 0.26, 1, 3, 0, 0.52)
A(opamp_out, via4, 99.01, 1.36, 0.26, 0.26, 1, 3, 0, 0.52)
A(opamp_out, via4, 99.53, 1.36, 0.26, 0.26, 1, 3, 0, 0.52)
A(opamp_out, via4, 118.86, 1.36, 0.26, 0.26, 3, 3, 0.52, 0.52)
A(opamp_out, via4, 3.8, 4.36, 0.26, 0.26, 3, 3, 0.52, 0.52)
A(opamp_out, via4, 11.81, 4.36, 0.26, 0.26, 1, 3, 0, 0.52)
A(opamp_out, via4, 12.33, 4.36, 0.26, 0.26, 1, 3, 0, 0.52)
A(opamp_out, via4, 25.81, 4.36, 0.26, 0.26, 1, 3, 0, 0.52)
A(opamp_out, via4, 26.33, 4.36, 0.26, 0.26, 1, 3, 0, 0.52)
A(opamp_out, via4, 39.81, 4.36, 0.26, 0.26, 1, 3, 0, 0.52)
A(opamp_out, via4, 40.33, 4.36, 0.26, 0.26, 1, 3, 0, 0.52)
A(opamp_out, via4, 53.81, 4.36, 0.26, 0.26, 1, 3, 0, 0.52)
A(opamp_out, via4, 54.33, 4.36, 0.26, 0.26, 1, 3, 0, 0.52)
A(opamp_out, via4, 67.81, 4.36, 0.26, 0.26, 1, 3, 0, 0.52)
A(opamp_out, via4, 68.33, 4.36, 0.26, 0.26, 1, 3, 0, 0.52)
A(opamp_out, via4, 81.81, 4.36, 0.26, 0.26, 1, 3, 0, 0.52)
A(opamp_out, via4, 82.33, 4.36, 0.26, 0.26, 1, 3, 0, 0.52)
A(opamp_out, via4, 95.81, 4.36, 0.26, 0.26, 1, 3, 0, 0.52)
A(opamp_out, via4, 96.33, 4.36, 0.26, 0.26, 1, 3, 0, 0.52)
A(opamp_out, via4, 115.86, 4.36, 0.26, 0.26, 3, 3, 0.52, 0.52)
A(opamp_out, via4, 3.8, 21.37, 0.26, 0.26, 3, 2, 0.52, 0.52)
A(opamp_out, via4, 115.86, 21.37, 0.26, 0.26, 3, 2, 0.52, 0.52)
A(opamp_out, via4, 0.8, 24.57, 0.26, 0.26, 3, 2, 0.52, 0.52)
A(opamp_out, via4, 118.86, 24.57, 0.26, 0.26, 3, 2, 0.52, 0.52)
A(opamp_out, via4, 3.8, 40.57, 0.26, 0.26, 3, 2, 0.52, 0.52)
A(opamp_out, via4, 115.86, 40.57, 0.26, 0.26, 3, 2, 0.52, 0.52)
A(opamp_out, via4, 0.8, 43.77, 0.26, 0.26, 3, 2, 0.52, 0.52)
A(opamp_out, via4, 118.86, 43.77, 0.26, 0.26, 3, 2, 0.52, 0.52)
A(opamp_out, via4, 3.8, 59.77, 0.26, 0.26, 3, 2, 0.52, 0.52)
A(opamp_out, via4, 115.86, 59.77, 0.26, 0.26, 3, 2, 0.52, 0.52)
A(opamp_out, via4, 0.8, 62.97, 0.26, 0.26, 3, 2, 0.52, 0.52)
A(opamp_out, via4, 118.86, 62.97, 0.26, 0.26, 3, 2, 0.52, 0.52)
A(opamp_out, via4, 3.8, 72.74, 0.26, 0.26, 3, 3, 0.52, 0.52)
A(opamp_out, via4, 11.81, 72.74, 0.26, 0.26, 1, 3, 0, 0.52)
A(opamp_out, via4, 12.33, 72.74, 0.26, 0.26, 1, 3, 0, 0.52)
A(opamp_out, via4, 25.81, 72.74, 0.26, 0.26, 1, 3, 0, 0.52)
A(opamp_out, via4, 26.33, 72.74, 0.26, 0.26, 1, 3, 0, 0.52)
A(opamp_out, via4, 39.81, 72.74, 0.26, 0.26, 1, 3, 0, 0.52)
A(opamp_out, via4, 40.33, 72.74, 0.26, 0.26, 1, 3, 0, 0.52)
A(opamp_out, via4, 53.81, 72.74, 0.26, 0.26, 1, 3, 0, 0.52)
A(opamp_out, via4, 54.33, 72.74, 0.26, 0.26, 1, 3, 0, 0.52)
A(opamp_out, via4, 67.81, 72.74, 0.26, 0.26, 1, 3, 0, 0.52)
A(opamp_out, via4, 68.33, 72.74, 0.26, 0.26, 1, 3, 0, 0.52)
A(opamp_out, via4, 81.81, 72.74, 0.26, 0.26, 1, 3, 0, 0.52)
A(opamp_out, via4, 82.33, 72.74, 0.26, 0.26, 1, 3, 0, 0.52)
A(opamp_out, via4, 95.81, 72.74, 0.26, 0.26, 1, 3, 0, 0.52)
A(opamp_out, via4, 96.33, 72.74, 0.26, 0.26, 1, 3, 0, 0.52)
A(opamp_out, via4, 115.86, 72.74, 0.26, 0.26, 3, 3, 0.52, 0.52)
A(opamp_out, via4, 0.8, 75.74, 0.26, 0.26, 3, 3, 0.52, 0.52)
A(opamp_out, via4, 15.01, 75.74, 0.26, 0.26, 1, 3, 0, 0.52)
A(opamp_out, via4, 15.53, 75.74, 0.26, 0.26, 1, 3, 0, 0.52)
A(opamp_out, via4, 29.01, 75.74, 0.26, 0.26, 1, 3, 0, 0.52)
A(opamp_out, via4, 29.53, 75.74, 0.26, 0.26, 1, 3, 0, 0.52)
A(opamp_out, via4, 43.01, 75.74, 0.26, 0.26, 1, 3, 0, 0.52)
A(opamp_out, via4, 43.53, 75.74, 0.26, 0.26, 1, 3, 0, 0.52)
A(opamp_out, via4, 57.01, 75.74, 0.26, 0.26, 1, 3, 0, 0.52)
A(opamp_out, via4, 57.53, 75.74, 0.26, 0.26, 1, 3, 0, 0.52)
A(opamp_out, via4, 71.01, 75.74, 0.26, 0.26, 1, 3, 0, 0.52)
A(opamp_out, via4, 71.53, 75.74, 0.26, 0.26, 1, 3, 0, 0.52)
A(opamp_out, via4, 85.01, 75.74, 0.26, 0.26, 1, 3, 0, 0.52)
A(opamp_out, via4, 85.53, 75.74, 0.26, 0.26, 1, 3, 0, 0.52)
A(opamp_out, via4, 99.01, 75.74, 0.26, 0.26, 1, 3, 0, 0.52)
A(opamp_out, via4, 99.53, 75.74, 0.26, 0.26, 1, 3, 0, 0.52)
A(opamp_out, via4, 118.86, 75.74, 0.26, 0.26, 3, 3, 0.52, 0.52)
R(opamp_out, via4, [(15.01,13.11,15.27,13.37), (15.53,13.11,15.79,13.37), (29.01,13.11,29.27,13.37), (29.53,13.11,29.79,13.37), (43.01,13.11,43.27,13.37), (43.53,13.11,43.79,13.37), (71.01,13.11,71.27,13.37), (71.53,13.11,71.79,13.37), (85.01,13.11,85.27,13.37), (85.53,13.11,85.79,13.37), (99.01,13.11,99.27,13.37), (99.53,13.11,99.79,13.37), (15.01,13.63,15.27,13.89), (15.53,13.63,15.79,13.89), (29.01,13.63,29.27,13.89), (29.53,13.63,29.79,13.89), (43.01,13.63,43.27,13.89), (43.53,13.63,43.79,13.89), (71.01,13.63,71.27,13.89), (71.53,13.63,71.79,13.89), (85.01,13.63,85.27,13.89), (85.53,13.63,85.79,13.89), (99.01,13.63,99.27,13.89), (99.53,13.63,99.79,13.89), (11.81,21.37,12.07,21.63), (12.33,21.37,12.59,21.63), (53.81,21.37,54.07,21.63), (54.33,21.37,54.59,21.63), (67.81,21.37,68.07,21.63), (68.33,21.37,68.59,21.63), (11.81,21.89,12.07,22.15), (12.33,21.89,12.59,22.15), (53.81,21.89,54.07,22.15), (54.33,21.89,54.59,22.15), (67.81,21.89,68.07,22.15), (68.33,21.89,68.59,22.15), (57.01,24.57,57.27,24.83), (57.53,24.57,57.79,24.83), (57.01,25.09,57.27,25.35), (57.53,25.09,57.79,25.35), (11.81,40.57,12.07,40.83), (12.33,40.57,12.59,40.83), (53.81,40.57,54.07,40.83), (54.33,40.57,54.59,40.83), (67.81,40.57,68.07,40.83), (68.33,40.57,68.59,40.83), (11.81,41.09,12.07,41.35), (12.33,41.09,12.59,41.35), (53.81,41.09,54.07,41.35), (54.33,41.09,54.59,41.35), (67.81,41.09,68.07,41.35), (68.33,41.09,68.59,41.35), (57.01,43.77,57.27,44.03), (57.53,43.77,57.79,44.03), (57.01,44.29,57.27,44.55), (57.53,44.29,57.79,44.55), (25.81,54.31,26.07,54.57), (26.33,54.31,26.59,54.57), (39.81,54.31,40.07,54.57), (40.33,54.31,40.59,54.57), (81.81,54.31,82.07,54.57), (82.33,54.31,82.59,54.57), (95.81,54.31,96.07,54.57), (96.33,54.31,96.59,54.57), (25.81,54.83,26.07,55.09), (26.33,54.83,26.59,55.09), (39.81,54.83,40.07,55.09), (40.33,54.83,40.59,55.09), (81.81,54.83,82.07,55.09), (82.33,54.83,82.59,55.09), (95.81,54.83,96.07,55.09), (96.33,54.83,96.59,55.09), (11.81,59.77,12.07,60.03), (12.33,59.77,12.59,60.03), (25.81,59.77,26.07,60.03), (26.33,59.77,26.59,60.03), (39.81,59.77,40.07,60.03), (40.33,59.77,40.59,60.03), (53.81,59.77,54.07,60.03), (54.33,59.77,54.59,60.03), (67.81,59.77,68.07,60.03), (68.33,59.77,68.59,60.03), (81.81,59.77,82.07,60.03), (82.33,59.77,82.59,60.03), (95.81,59.77,96.07,60.03), (96.33,59.77,96.59,60.03), (11.81,60.29,12.07,60.55), (12.33,60.29,12.59,60.55), (25.81,60.29,26.07,60.55), (26.33,60.29,26.59,60.55), (39.81,60.29,40.07,60.55), (40.33,60.29,40.59,60.55), (53.81,60.29,54.07,60.55), (54.33,60.29,54.59,60.55), (67.81,60.29,68.07,60.55), (68.33,60.29,68.59,60.55), (81.81,60.29,82.07,60.55), (82.33,60.29,82.59,60.55), (95.81,60.29,96.07,60.55), (96.33,60.29,96.59,60.55), (15.01,62.97,15.27,63.23), (15.53,62.97,15.79,63.23), (29.01,62.97,29.27,63.23), (29.53,62.97,29.79,63.23), (43.01,62.97,43.27,63.23), (43.53,62.97,43.79,63.23), (57.01,62.97,57.27,63.23), (57.53,62.97,57.79,63.23), (71.01,62.97,71.27,63.23), (71.53,62.97,71.79,63.23), (85.01,62.97,85.27,63.23), (85.53,62.97,85.79,63.23), (99.01,62.97,99.27,63.23), (99.53,62.97,99.79,63.23), (15.01,63.49,15.27,63.75), (15.53,63.49,15.79,63.75), (29.01,63.49,29.27,63.75), (29.53,63.49,29.79,63.75), (43.01,63.49,43.27,63.75), (43.53,63.49,43.79,63.75), (57.01,63.49,57.27,63.75), (57.53,63.49,57.79,63.75), (71.01,63.49,71.27,63.75), (71.53,63.49,71.79,63.75), (85.01,63.49,85.27,63.75), (85.53,63.49,85.79,63.75), (99.01,63.49,99.27,63.75), (99.53,63.49,99.79,63.75)])
R(opamp_out, metal3, [(105.93,25.9,106.31,26.18), (11.85,33.46,13.72,33.74), (68.97,33.46,70.84,33.74), (50.68,33.74,51.99,34.02), (107.05,34.86,107.43,35.14), (11.85,60.06,29.59,60.34), (68.97,60.06,90.07,60.34)])
P(opamp_out, metal3, [(121,60.06),(118.5,60.06),(118.5,59.78),(107.05,59.78),(107.05,59.5),(118.5,59.5),(118.5,59.22),(121,59.22)],
  [(107.38,33.88),(107.1,33.88),(107.1,31.78),(105.93,31.78),(105.93,31.5),(107.38,31.5)],
  [(49.14,25.48),(48.86,25.48),(48.86,24.22),(50.87,24.22),(50.87,24.5),(49.14,24.5)],
  [(121,19.74),(118.5,19.74),(118.5,19.46),(50.49,19.46),(50.49,19.18),(118.5,19.18),(118.5,18.9),(121,18.9)])
R(opamp_out, metal3_pin, [(118.5,18.9,121,19.74), (118.5,59.22,121,60.06)])
R(opamp_out, metal4, [(0.7,1.26,2.2,77.14), (11.6,1.26,12.8,14.72), (14.8,1.26,16,14.72), (25.6,1.26,26.8,14.72), (28.8,1.26,30,14.72), (39.6,1.26,40.8,14.72), (42.8,1.26,44,14.72), (53.6,1.26,54.8,77.14), (56.8,1.26,58,77.14), (67.6,1.26,68.8,14.72), (70.8,1.26,72,14.72), (81.6,1.26,82.8,14.72), (84.8,1.26,86,14.72), (95.6,1.26,96.8,14.72), (98.8,1.26,100,14.72), (118.76,1.26,120.26,77.14), (3.7,4.26,5.2,74.14), (115.76,4.26,117.26,74.14), (11.6,18.28,12.8,49.92), (67.6,18.28,68.8,49.92), (105.98,25.85,106.26,31.83), (107.1,34.81,107.38,59.83), (11.6,53.48,12.8,77.14), (14.8,53.48,16,77.14), (25.6,53.48,26.8,77.14), (28.8,53.48,30,77.14), (39.6,53.48,40.8,77.14), (42.8,53.48,44,77.14), (67.6,53.48,68.8,77.14), (70.8,53.48,72,77.14), (81.6,53.48,82.8,77.14), (84.8,53.48,86,77.14), (95.6,53.48,96.8,77.14), (98.8,53.48,100,77.14)])
P(opamp_out, metal4, [(51.94,34.07),(51.66,34.07),(51.66,28.49),(50.54,28.49),(50.54,19.13),(50.82,19.13),(50.82,28.21),(51.94,28.21)])
R(opamp_out, metal4_pin, [(0.7,1.26,2.2,77.14), (11.6,1.26,12.8,14.72), (14.8,1.26,16,14.72), (25.6,1.26,26.8,14.72), (28.8,1.26,30,14.72), (39.6,1.26,40.8,14.72), (42.8,1.26,44,14.72), (53.6,1.26,54.8,77.14), (56.8,1.26,58,77.14), (67.6,1.26,68.8,14.72), (70.8,1.26,72,14.72), (81.6,1.26,82.8,14.72), (84.8,1.26,86,14.72), (95.6,1.26,96.8,14.72), (98.8,1.26,100,14.72), (118.76,1.26,120.26,77.14), (3.7,4.26,5.2,74.14), (115.76,4.26,117.26,74.14), (11.6,18.28,12.8,49.92), (67.6,18.28,68.8,49.92), (11.6,53.48,12.8,77.14), (14.8,53.48,16,77.14), (25.6,53.48,26.8,77.14), (28.8,53.48,30,77.14), (39.6,53.48,40.8,77.14), (42.8,53.48,44,77.14), (67.6,53.48,68.8,77.14), (70.8,53.48,72,77.14), (81.6,53.48,82.8,77.14), (84.8,53.48,86,77.14), (95.6,53.48,96.8,77.14), (98.8,53.48,100,77.14)])
A(opamp_out, metal5, 14.8, 13, 1.2, 1, 3, 1, 14, 0)
A(opamp_out, metal5, 70.8, 13, 1.2, 1, 3, 1, 14, 0)
R(opamp_out, metal5, [(0.7,1.26,120.26,2.76), (3.7,4.26,117.26,5.76), (0.7,21.16,15.33,22.36), (47.45,21.16,72.33,22.36), (104.45,21.16,120.26,22.36), (0.7,24.36,15.33,25.56), (47.45,24.36,72.33,25.56), (104.45,24.36,120.26,25.56), (0.7,40.36,15.33,41.56), (47.45,40.36,72.33,41.56), (104.45,40.36,120.26,41.56), (0.7,43.56,15.33,44.76), (47.45,43.56,72.33,44.76), (104.45,43.56,120.26,44.76), (25.6,54.2,26.8,55.2), (39.6,54.2,40.8,55.2), (81.6,54.2,82.8,55.2), (95.6,54.2,96.8,55.2), (0.7,59.56,120.26,60.76), (0.7,62.76,120.26,63.96), (3.7,72.64,117.26,74.14), (0.7,75.64,120.26,77.14)])
R(opamp_out, metal5_pin, [(0.7,1.26,120.26,2.76), (3.7,4.26,117.26,5.76), (0.7,21.16,15.33,22.36), (47.45,21.16,72.33,22.36), (104.45,21.16,120.26,22.36), (0.7,24.36,15.33,25.56), (47.45,24.36,72.33,25.56), (104.45,24.36,120.26,25.56), (0.7,40.36,15.33,41.56), (47.45,40.36,72.33,41.56), (104.45,40.36,120.26,41.56), (0.7,43.56,15.33,44.76), (47.45,43.56,72.33,44.76), (104.45,43.56,120.26,44.76), (0.7,59.56,120.26,60.76), (0.7,62.76,120.26,63.96), (3.7,72.64,117.26,74.14), (0.7,75.64,120.26,77.14)])
opamp_out.add(gdstk.Reference(opamp, (70,13)))
opamp_out.add(gdstk.Reference(opamp, (13,13)))
opamp_out.add(gdstk.Label('avdd', (112.355,40.96), layer=81, texttype=10))
opamp_out.add(gdstk.Label('avdd', (112.355,21.76), layer=81, texttype=10))
opamp_out.add(gdstk.Label('avdd', (59.89,40.96), layer=81, texttype=10))
opamp_out.add(gdstk.Label('avdd', (59.89,21.76), layer=81, texttype=10))
opamp_out.add(gdstk.Label('avdd', (60.48,60.16), layer=81, texttype=10))
opamp_out.add(gdstk.Label('avdd', (8.015,40.96), layer=81, texttype=10))
opamp_out.add(gdstk.Label('avdd', (8.015,21.76), layer=81, texttype=10))
opamp_out.add(gdstk.Label('avdd', (96.2,65.31), layer=46, texttype=10))
opamp_out.add(gdstk.Label('avdd', (96.2,7.99), layer=46, texttype=10))
opamp_out.add(gdstk.Label('avdd', (82.2,65.31), layer=46, texttype=10))
opamp_out.add(gdstk.Label('avdd', (82.2,7.99), layer=46, texttype=10))
opamp_out.add(gdstk.Label('avdd', (68.2,65.31), layer=46, texttype=10))
opamp_out.add(gdstk.Label('avdd', (68.2,34.1), layer=46, texttype=10))
opamp_out.add(gdstk.Label('avdd', (68.2,7.99), layer=46, texttype=10))
opamp_out.add(gdstk.Label('avdd', (54.2,39.2), layer=46, texttype=10))
opamp_out.add(gdstk.Label('avdd', (40.2,65.31), layer=46, texttype=10))
opamp_out.add(gdstk.Label('avdd', (40.2,7.99), layer=46, texttype=10))
opamp_out.add(gdstk.Label('avdd', (26.2,65.31), layer=46, texttype=10))
opamp_out.add(gdstk.Label('avdd', (26.2,7.99), layer=46, texttype=10))
opamp_out.add(gdstk.Label('avdd', (12.2,65.31), layer=46, texttype=10))
opamp_out.add(gdstk.Label('avdd', (12.2,34.1), layer=46, texttype=10))
opamp_out.add(gdstk.Label('avdd', (12.2,7.99), layer=46, texttype=10))
opamp_out.add(gdstk.Label('avdd', (60.48,73.39), layer=81, texttype=10))
opamp_out.add(gdstk.Label('avdd', (60.48,5.01), layer=81, texttype=10))
opamp_out.add(gdstk.Label('avdd', (116.51,39.2), layer=46, texttype=10))
opamp_out.add(gdstk.Label('avdd', (4.45,39.2), layer=46, texttype=10))
opamp_out.add(gdstk.Label('avss', (112.355,44.16), layer=81, texttype=10))
opamp_out.add(gdstk.Label('avss', (112.355,24.96), layer=81, texttype=10))
opamp_out.add(gdstk.Label('avss', (59.89,44.16), layer=81, texttype=10))
opamp_out.add(gdstk.Label('avss', (59.89,24.96), layer=81, texttype=10))
opamp_out.add(gdstk.Label('avss', (60.48,63.36), layer=81, texttype=10))
opamp_out.add(gdstk.Label('avss', (8.015,44.16), layer=81, texttype=10))
opamp_out.add(gdstk.Label('avss', (8.015,24.96), layer=81, texttype=10))
opamp_out.add(gdstk.Label('avss', (99.4,65.31), layer=46, texttype=10))
opamp_out.add(gdstk.Label('avss', (99.4,7.99), layer=46, texttype=10))
opamp_out.add(gdstk.Label('avss', (85.4,65.31), layer=46, texttype=10))
opamp_out.add(gdstk.Label('avss', (85.4,7.99), layer=46, texttype=10))
opamp_out.add(gdstk.Label('avss', (71.4,65.31), layer=46, texttype=10))
opamp_out.add(gdstk.Label('avss', (71.4,7.99), layer=46, texttype=10))
opamp_out.add(gdstk.Label('avss', (57.4,39.2), layer=46, texttype=10))
opamp_out.add(gdstk.Label('avss', (43.4,65.31), layer=46, texttype=10))
opamp_out.add(gdstk.Label('avss', (43.4,7.99), layer=46, texttype=10))
opamp_out.add(gdstk.Label('avss', (29.4,65.31), layer=46, texttype=10))
opamp_out.add(gdstk.Label('avss', (29.4,7.99), layer=46, texttype=10))
opamp_out.add(gdstk.Label('avss', (15.4,65.31), layer=46, texttype=10))
opamp_out.add(gdstk.Label('avss', (15.4,7.99), layer=46, texttype=10))
opamp_out.add(gdstk.Label('avss', (60.48,76.39), layer=81, texttype=10))
opamp_out.add(gdstk.Label('avss', (60.48,2.01), layer=81, texttype=10))
opamp_out.add(gdstk.Label('avss', (119.51,39.2), layer=46, texttype=10))
opamp_out.add(gdstk.Label('avss', (1.45,39.2), layer=46, texttype=10))
opamp_out.add(gdstk.Label('vin2_1', (29.4,78.75), layer=36, texttype=10))
opamp_out.add(gdstk.Label('vin2_2', (89.88,78.75), layer=36, texttype=10))
opamp_out.add(gdstk.Label('vout_1', (119.75,19.32), layer=42, texttype=10))
opamp_out.add(gdstk.Label('vout_2', (119.75,59.64), layer=42, texttype=10))

lib.write_gds('opamp_out.gds')
